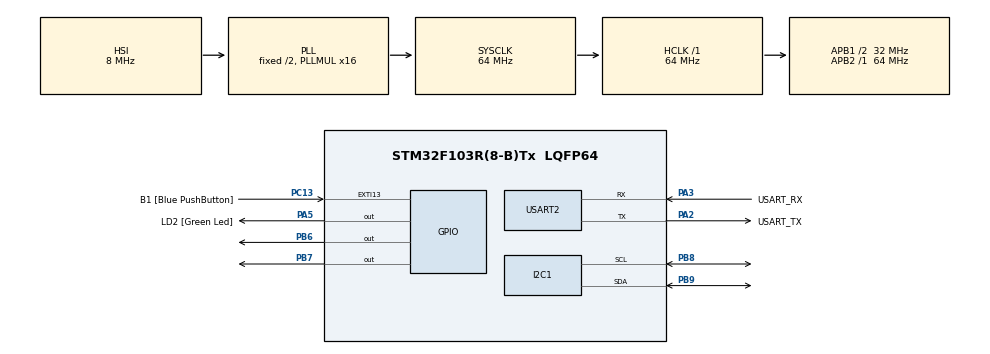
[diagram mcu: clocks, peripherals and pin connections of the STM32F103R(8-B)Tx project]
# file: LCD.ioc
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Mcu.Family=STM32F1
Mcu.Name=STM32F103R(8-B)Tx
Mcu.Package=LQFP64
NVIC.EXTI15_10_IRQn=true\:0\:0\:false\:false\:true\:true\:true
NVIC.PriorityGroup=NVIC_PRIORITYGROUP_4
PA13.GPIO_Label=TMS
PA13.Mode=Serial_Wire
PA13.Signal=SYS_JTMS-SWDIO
PA14.GPIO_Label=TCK
PA14.Mode=Serial_Wire
PA14.Signal=SYS_JTCK-SWCLK
PA2.GPIO_Label=USART_TX
PA2.GPIO_Mode=GPIO_MODE_AF_PP
PA2.GPIO_PuPd=GPIO_NOPULL
PA2.GPIO_Speed=GPIO_SPEED_FREQ_LOW
PA2.Mode=Asynchronous
PA2.Signal=USART2_TX
PA3.GPIO_Label=USART_RX
PA3.GPIO_Mode=GPIO_MODE_AF_PP
PA3.GPIO_PuPd=GPIO_NOPULL
PA3.GPIO_Speed=GPIO_SPEED_FREQ_LOW
PA3.Mode=Asynchronous
PA3.Signal=USART2_RX
PA5.GPIO_Label=LD2 [Green Led]
PA5.GPIO_ModeDefaultOutputPP=GPIO_MODE_OUTPUT_PP
PA5.GPIO_PuPd=GPIO_NOPULL
PA5.GPIO_Speed=GPIO_SPEED_FREQ_LOW
PA5.Signal=GPIO_Output
PB3.GPIO_Label=SWO
PB3.Signal=SYS_JTDO-TRACESWO
PB6.Signal=GPIO_Output
PB7.Signal=GPIO_Output
PB8.Mode=I2C
PB8.Signal=I2C1_SCL
PB9.Mode=I2C
PB9.Signal=I2C1_SDA
PC13-TAMPER-RTC.GPIO_Label=B1 [Blue PushButton]
PC13-TAMPER-RTC.GPIO_PuPd=GPIO_NOPULL
PC13-TAMPER-RTC.Signal=GPXTI13
PC14-OSC32_IN.Mode=LSE-External-Oscillator
PC14-OSC32_IN.Signal=RCC_OSC32_IN
PC15-OSC32_OUT.Mode=LSE-External-Oscillator
PC15-OSC32_OUT.Signal=RCC_OSC32_OUT
PD0-OSC_IN.Mode=HSE-External-Clock-Source
PD0-OSC_IN.Signal=RCC_OSC_IN
PD1-OSC_OUT.Mode=HSE-External-Clock-Source
PD1-OSC_OUT.Signal=RCC_OSC_OUT
ProjectManager.HeapSize=0x200
ProjectManager.StackSize=0x400
ProjectManager.TargetToolchain=STM32CubeIDE
RCC.AHBFreq_Value=64000000
RCC.APB1CLKDivider=RCC_HCLK_DIV2
RCC.APB1Freq_Value=32000000
RCC.APB1TimFreq_Value=64000000
RCC.APB2Freq_Value=64000000
RCC.APB2TimFreq_Value=64000000
RCC.HCLKFreq_Value=64000000
RCC.PLLMUL=RCC_PLL_MUL16
RCC.RTCClockSelection=RCC_RTCCLKSOURCE_LSE
RCC.SYSCLKFreq_VALUE=64000000
RCC.SYSCLKSource=RCC_SYSCLKSOURCE_PLLCLK
RCC.USBFreq_Value=64000000
USART2.VirtualMode=VM_ASYNC
board=NUCLEO-F103RB

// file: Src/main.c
/* USER CODE BEGIN Header */
/**
  ******************************************************************************
  * @file           : main.c
  * @brief          : Main program body
  ******************************************************************************
  * @attention
  *
  * <h2><center>&copy; Copyright (c) 2020 STMicroelectronics.
  * All rights reserved.</center></h2>
  *
  * This software component is licensed by ST under BSD 3-Clause license,
  * the "License"; You may not use this file except in compliance with the
  * License. You may obtain a copy of the License at:
  *                        opensource.org/licenses/BSD-3-Clause
  *
  ******************************************************************************
  */
/* USER CODE END Header */

#include "main.h"

I2C_HandleTypeDef hi2c1;

UART_HandleTypeDef huart2;

void SystemClock_Config(void);
static void MX_GPIO_Init(void);
static void MX_USART2_UART_Init(void);
static void MX_I2C1_Init(void);

int main(void)
{

  /* MCU Configuration--------------------------------------------------------*/

  /* Reset of all peripherals, Initializes the Flash interface and the Systick. */
  HAL_Init();

  /* Configure the system clock */
  SystemClock_Config();

  /* Initialize all configured peripherals */
  MX_GPIO_Init();
  MX_USART2_UART_Init();
  MX_I2C1_Init();
  /* USER CODE BEGIN 2 */

  /* Initialize */
  HD44780_Init(2);

  /* Clear buffer */
  HD44780_Clear();

  /* Hide characters */
  HD44780_NoDisplay();
  HD44780_Cursor();
  HD44780_SetCursor(0,0);
  HD44780_PrintStr("HELLO STM32!!!");
  HD44780_PrintSpecialChar(0);

  /* Show characters */
  HD44780_Display();

  /* Move position */
  HD44780_SetCursor(0, 1);
  HD44780_PrintStr("BYE STM32!!!");
  HD44780_PrintSpecialChar(1);

  /* Blink cursor */
  HD44780_Blink();

  /* Scroll Right */
  for(int i = 0; i < 3; i++)
  {
    HD44780_ScrollDisplayRight();
    HAL_Delay(1000);
  }

  /* Scroll Left */
  for(int i = 0; i < 3; i++)
  {
    HD44780_ScrollDisplayLeft();
    HAL_Delay(1000);
  }

  /* USER CODE END 2 */

  /* Infinite loop */
  while (1)
  {

    /* USER CODE BEGIN 3 */
    HAL_GPIO_TogglePin(GPIOA, GPIO_PIN_5);
    HAL_Delay(100);
  }
  /* USER CODE END 3 */
}

void SystemClock_Config(void)
{
  RCC_OscInitTypeDef RCC_OscInitStruct = {0};
  RCC_ClkInitTypeDef RCC_ClkInitStruct = {0};

  /** Initializes the CPU, AHB and APB busses clocks
  */
  RCC_OscInitStruct.OscillatorType = RCC_OSCILLATORTYPE_HSI;
  RCC_OscInitStruct.HSIState = RCC_HSI_ON;
  RCC_OscInitStruct.HSICalibrationValue = RCC_HSICALIBRATION_DEFAULT;
  RCC_OscInitStruct.PLL.PLLState = RCC_PLL_ON;
  RCC_OscInitStruct.PLL.PLLSource = RCC_PLLSOURCE_HSI_DIV2;
  RCC_OscInitStruct.PLL.PLLMUL = RCC_PLL_MUL16;
  if (HAL_RCC_OscConfig(&RCC_OscInitStruct) != HAL_OK)
  {
    Error_Handler();
  }
  /** Initializes the CPU, AHB and APB busses clocks
  */
  RCC_ClkInitStruct.ClockType = RCC_CLOCKTYPE_HCLK|RCC_CLOCKTYPE_SYSCLK
                              |RCC_CLOCKTYPE_PCLK1|RCC_CLOCKTYPE_PCLK2;
  RCC_ClkInitStruct.SYSCLKSource = RCC_SYSCLKSOURCE_PLLCLK;
  RCC_ClkInitStruct.AHBCLKDivider = RCC_SYSCLK_DIV1;
  RCC_ClkInitStruct.APB1CLKDivider = RCC_HCLK_DIV2;
  RCC_ClkInitStruct.APB2CLKDivider = RCC_HCLK_DIV1;

  if (HAL_RCC_ClockConfig(&RCC_ClkInitStruct, FLASH_LATENCY_2) != HAL_OK)
  {
    Error_Handler();
  }
}

static void MX_I2C1_Init(void)
{

  hi2c1.Instance = I2C1;
  hi2c1.Init.ClockSpeed = 100000;
  hi2c1.Init.DutyCycle = I2C_DUTYCYCLE_2;
  hi2c1.Init.OwnAddress1 = 0x27;
  hi2c1.Init.AddressingMode = I2C_ADDRESSINGMODE_7BIT;
  hi2c1.Init.DualAddressMode = I2C_DUALADDRESS_DISABLE;
  hi2c1.Init.OwnAddress2 = 0;
  hi2c1.Init.GeneralCallMode = I2C_GENERALCALL_DISABLE;
  hi2c1.Init.NoStretchMode = I2C_NOSTRETCH_DISABLE;
  if (HAL_I2C_Init(&hi2c1) != HAL_OK)
  {
    Error_Handler();
  }

}

static void MX_USART2_UART_Init(void)
{

  huart2.Instance = USART2;
  huart2.Init.BaudRate = 115200;
  huart2.Init.WordLength = UART_WORDLENGTH_8B;
  huart2.Init.StopBits = UART_STOPBITS_1;
  huart2.Init.Parity = UART_PARITY_NONE;
  huart2.Init.Mode = UART_MODE_TX_RX;
  huart2.Init.HwFlowCtl = UART_HWCONTROL_NONE;
  huart2.Init.OverSampling = UART_OVERSAMPLING_16;
  if (HAL_UART_Init(&huart2) != HAL_OK)
  {
    Error_Handler();
  }

}

static void MX_GPIO_Init(void)
{
  GPIO_InitTypeDef GPIO_InitStruct = {0};

  /* GPIO Ports Clock Enable */
  __HAL_RCC_GPIOC_CLK_ENABLE();
  __HAL_RCC_GPIOD_CLK_ENABLE();
  __HAL_RCC_GPIOA_CLK_ENABLE();
  __HAL_RCC_GPIOB_CLK_ENABLE();

  /*Configure GPIO pin Output Level */
  HAL_GPIO_WritePin(LD2_GPIO_Port, LD2_Pin, GPIO_PIN_RESET);

  /*Configure GPIO pin Output Level */
  HAL_GPIO_WritePin(GPIOB, GPIO_PIN_6|GPIO_PIN_7, GPIO_PIN_RESET);

  /*Configure GPIO pin : B1_Pin */
  GPIO_InitStruct.Pin = B1_Pin;
  GPIO_InitStruct.Mode = GPIO_MODE_IT_RISING;
  GPIO_InitStruct.Pull = GPIO_NOPULL;
  HAL_GPIO_Init(B1_GPIO_Port, &GPIO_InitStruct);

  /*Configure GPIO pin : LD2_Pin */
  GPIO_InitStruct.Pin = LD2_Pin;
  GPIO_InitStruct.Mode = GPIO_MODE_OUTPUT_PP;
  GPIO_InitStruct.Pull = GPIO_NOPULL;
  GPIO_InitStruct.Speed = GPIO_SPEED_FREQ_LOW;
  HAL_GPIO_Init(LD2_GPIO_Port, &GPIO_InitStruct);

  /*Configure GPIO pins : PB6 PB7 */
  GPIO_InitStruct.Pin = GPIO_PIN_6|GPIO_PIN_7;
  GPIO_InitStruct.Mode = GPIO_MODE_OUTPUT_PP;
  GPIO_InitStruct.Pull = GPIO_NOPULL;
  GPIO_InitStruct.Speed = GPIO_SPEED_FREQ_LOW;
  HAL_GPIO_Init(GPIOB, &GPIO_InitStruct);

  /* EXTI interrupt init*/
  HAL_NVIC_SetPriority(EXTI15_10_IRQn, 0, 0);
  HAL_NVIC_EnableIRQ(EXTI15_10_IRQn);

}

void Error_Handler(void)
{
}

/************************ (C) COPYRIGHT STMicroelectronics *****END OF FILE****/
